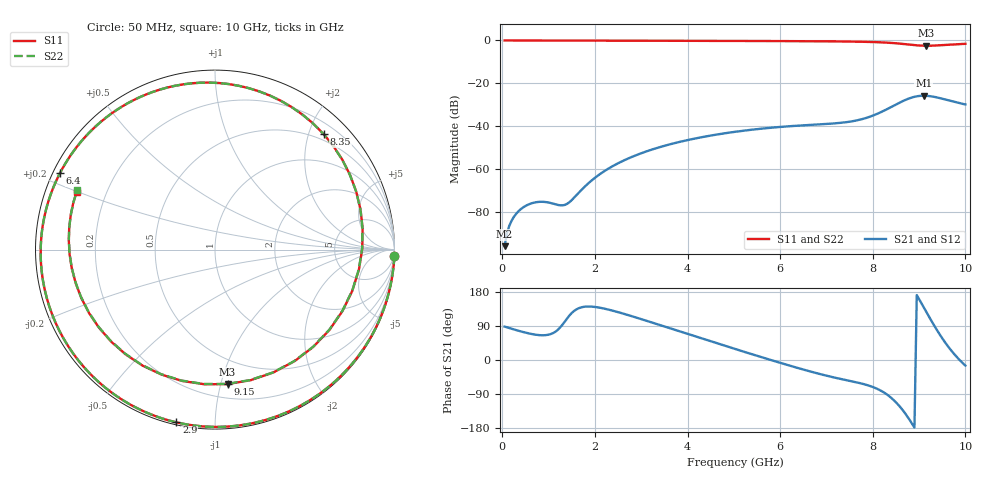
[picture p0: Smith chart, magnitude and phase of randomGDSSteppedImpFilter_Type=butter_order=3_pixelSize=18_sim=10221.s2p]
! freq	dB(S11)	phase(S11)	dB(S12)	phase(S12)
!  dB(S21)	phase(S21)	dB(S22)	phase(S22)
!S-par simulation data
#  GHz  S  DB  R 50
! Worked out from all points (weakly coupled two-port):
!   200 points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, 50 MHz to 10 GHz, reference 50 ohm
!   highest |S21| = -25.78 dB at 9.1 GHz (marker M1); lowest = -96.0 dB at 50 MHz (marker M2)
!   lowest |S11| = -2.5 dB at 9.15 GHz (marker M3), VSWR 7.08, Z = 15.2 - j52.6 ohm
!   |S11| at or under -10 dB: nowhere
!   |S22| runs from -2.5 to 0.0 dB; largest |S21 - S12| = 0
!   S11 on the Smith chart (normalised r, x): 50 MHz: 0, -59; 2.9 GHz: 0.01, -0.80; 6.4 GHz: 0.02, +0.23; 8.35 GHz: 0.39, +2.26; 9.15 GHz: 0.30, -1.05; 10 GHz: 0.09, +0.20
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0.05  -0.00 -1.9  -95.99 88.1  -95.99 88.1  -0.00 -1.9
0.35  -0.02 -13.5  -79.68 77.2  -79.68 77.2  -0.02 -13.5
0.75  -0.04 -28.6  -75.42 66.2  -75.42 66.2  -0.04 -28.6
1.35  -0.06 -50.7  -76.72 101.4  -76.72 101.4  -0.06 -50.7
1.75  -0.08 -64.9  -68.86 140.1  -68.86 140.1  -0.08 -64.9
2.25  -0.10 -81.8  -60.34 134.3  -60.34 134.3  -0.10 -81.8
2.9  -0.12 -102.6  -53.45 111.7  -53.45 111.7  -0.12 -102.6
3.4  -0.14 -117.8  -49.78 92.3  -49.78 92.3  -0.14 -117.8
5.05  -0.22 -165.2  -42.55 28.2  -42.55 28.2  -0.22 -165.2
6.4  -0.33 153.6  -39.73 -21.7  -39.73 -21.7  -0.33 153.7
6.7  -0.36 143.1  -39.35 -31.9  -39.35 -31.9  -0.36 143.2
7.75  -0.60 94.9  -36.82 -61.9  -36.82 -61.9  -0.60 95.2
8.1  -0.81 70.2  -34.20 -76.4  -34.20 -76.4  -0.81 70.6
8.35  -1.08 46.7  -31.59 -95.1  -31.59 -95.1  -1.07 47.1
8.6  -1.50 15.5  -28.79 -125.2  -28.79 -125.2  -1.50 15.9
8.75  -1.84 -8.0  -27.33 -149.6  -27.33 -149.6  -1.84 -7.7
8.9  -2.17 -35.1  -26.29 -178.4  -26.29 -178.4  -2.18 -35.0
9.1  -2.45 -74.7  -25.78 139.1  -25.78 139.1  -2.47 -75.0
9.15  -2.47 -84.6  -25.81 128.3  -25.81 128.3  -2.49 -85.1
9.3  -2.41 -113.1  -26.20 96.3  -26.20 96.3  -2.42 -113.8
9.55  -2.10 -153.1  -27.47 48.4  -27.47 48.4  -2.10 -154.1
10  -1.56 157.4  -29.85 -14.7  -29.85 -14.7  -1.55 156.4
